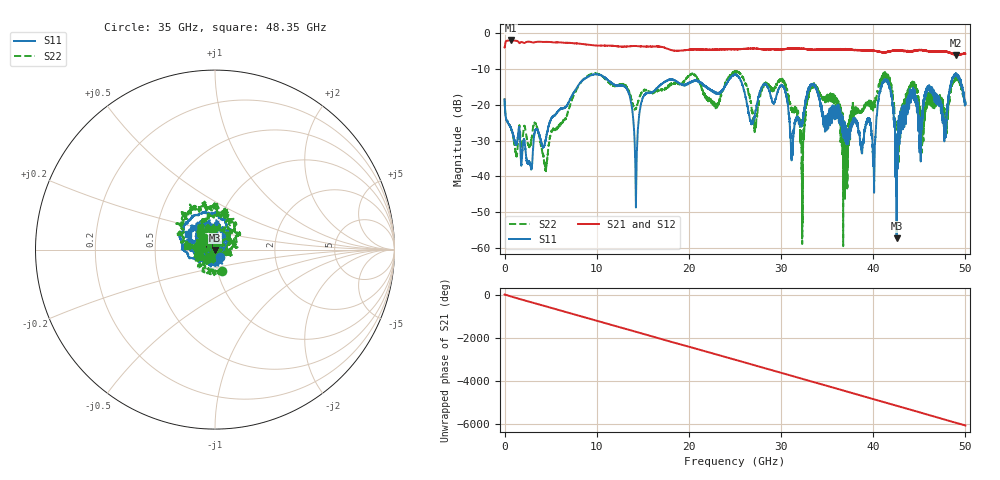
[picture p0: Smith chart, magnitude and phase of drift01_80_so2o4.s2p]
!Created with skrf (http://scikit-rf.org).
# Hz S RI R 50.0
!freq ReS11 ImS11 ReS21 ImS21 ReS12 ImS12 ReS22 ImS22
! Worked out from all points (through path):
!   10001 points, 300 kHz to 50 GHz, reference 50 ohm
!   highest |S21| = -2.00 dB at 710.3 MHz (marker M1); lowest = -6.0 dB at 48.98 GHz (marker M2)
!   group delay of S21, straight-line fit = 336 ps
!   lowest |S11| = -57.3 dB at 42.54 GHz (marker M3), VSWR 1.00, Z = 50 - j0.135 ohm
!   |S11| at or under -10 dB: start of sweep to end of sweep
!   |S22| runs from -59.5 to -10.6 dB; largest |S21 - S12| = 0.019
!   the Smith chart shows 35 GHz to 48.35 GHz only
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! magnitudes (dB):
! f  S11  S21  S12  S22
! 300 kHz  -18.5  -4.0  -4.1  -18.2
! 710.3 MHz  -26.6  -2.0  -2.0  -26.7
! 4.445 GHz  -29.8  -2.4  -2.4  -37.8
! 8.335 GHz  -13.5  -2.9  -2.9  -13.5
! 13.17 GHz  -15.2  -3.7  -3.7  -14.6
! 14.25 GHz  -48.7  -3.6  -3.5  -21.1
! 14.98 GHz  -18.2  -3.7  -3.7  -16.1
! 16.67 GHz  -14.9  -3.7  -3.7  -15.9
! 25 GHz  -11.5  -4.5  -4.5  -10.9
! 27.18 GHz  -22.3  -4.3  -4.3  -25.8
! 30.22 GHz  -14.8  -4.5  -4.5  -13.4
! 31.17 GHz  -32.9  -4.2  -4.2  -21.3
! 32.28 GHz  -25.1  -4.3  -4.3  -57.5
! 33.34 GHz  -14.2  -4.6  -4.6  -14.7
! 36.99 GHz  -30.3  -4.5  -4.4  -29.9
! 40.05 GHz  -36.6  -4.8  -4.9  -19.7
! 41.67 GHz  -13.7  -5.1  -5.1  -13.5
! 42.54 GHz  -57.3  -4.8  -4.8  -34.5
! 44.13 GHz  -16.4  -5.0  -5.0  -14.0
! 47.75 GHz  -27.9  -5.1  -5.1  -22.9
! 48.98 GHz  -11.2  -6.0  -6.0  -12.5
! 50 GHz  -19.4  -5.7  -5.7  -19.3
